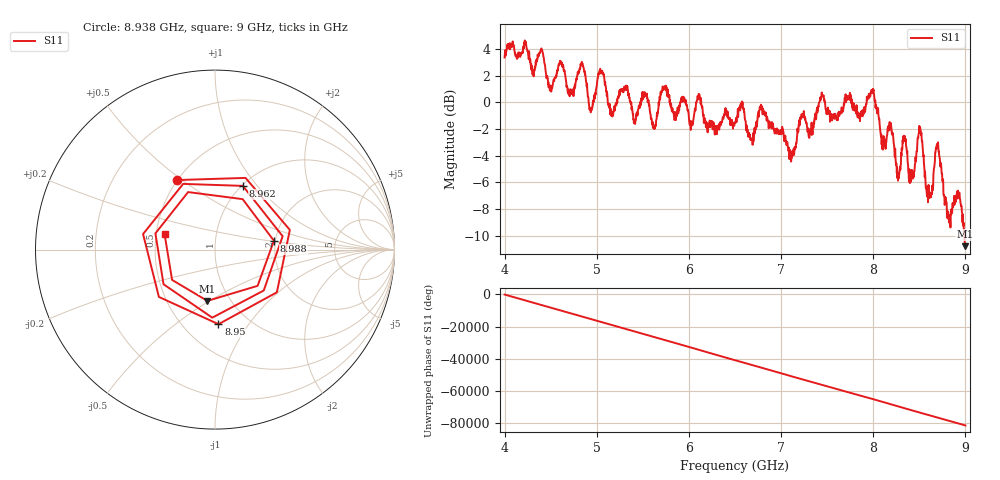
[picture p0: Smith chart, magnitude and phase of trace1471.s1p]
! Created with skrf 1.8.0 (http://scikit-rf.org).
# Hz S RI R 50.0
!freq ReS11 ImS11
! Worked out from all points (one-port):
!   1601 points, 4 GHz to 9 GHz, reference 50 ohm
!   lowest |S11| = -10.8 dB at 8.994 GHz (marker M1), VSWR 1.81, Z = 39.2 - j24.5 ohm
!   |S11| at or under -10 dB: 8.990314 GHz to end of sweep
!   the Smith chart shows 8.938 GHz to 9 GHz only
!   S11 on the Smith chart (normalised r, x): 8.938 GHz: 0.49, +0.48; 8.95 GHz: 0.73, -0.73; 8.962 GHz: 1.01, +0.85; 8.988 GHz: 1.96, +0.22; 9 GHz: 0.55, +0.11
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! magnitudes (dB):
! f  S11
! 4 GHz  3.4
! 4.625 GHz  2.7
! 4.725 GHz  0.7
! 4.847 GHz  2.9
! 4.934 GHz  -0.7
! 5.041 GHz  2.2
! 5.156 GHz  -1.0
! 5.25 GHz  0.6
! 5.875 GHz  -0.8
! 6.5 GHz  -1.5
! 6.794 GHz  -0.3
! 7.125 GHz  -3.9
! 7.438 GHz  0.4
! 7.75 GHz  0.2
! 7.988 GHz  0.9
! 8.269 GHz  -5.9
! 8.375 GHz  -4.6
! 8.422 GHz  -5.1
! 8.506 GHz  -1.9
! 8.6 GHz  -6.2
! 8.697 GHz  -3.2
! 8.812 GHz  -8.2
! 8.938 GHz  -7.1
! 8.95 GHz  -7.6
! 8.962 GHz  -8.2
! 8.988 GHz  -9.6
! 8.994 GHz  -10.8
! 9 GHz  -10.6
